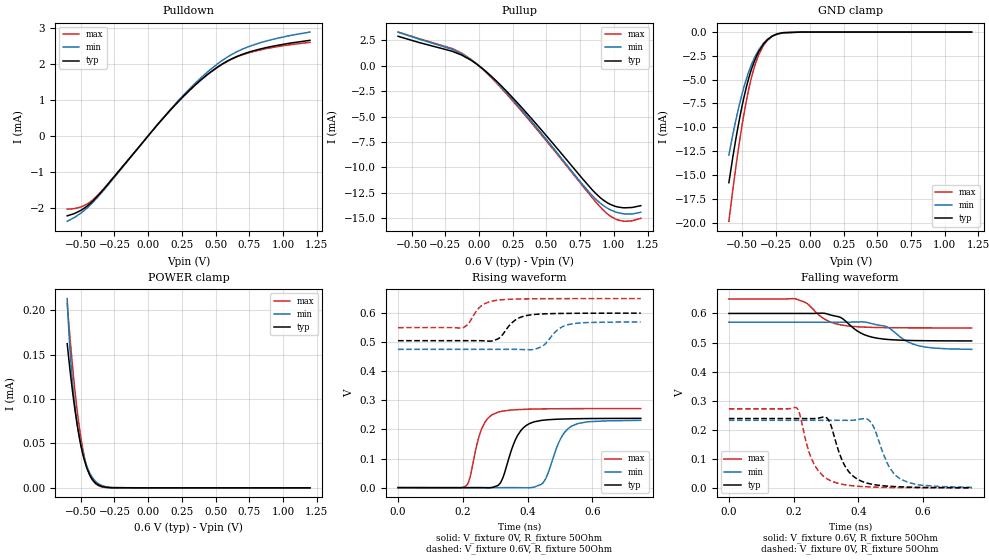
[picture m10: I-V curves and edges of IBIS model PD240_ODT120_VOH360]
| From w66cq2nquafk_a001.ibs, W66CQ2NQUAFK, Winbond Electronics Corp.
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[Model]   PD240_ODT120_VOH360
Model_type   I/O
Polarity   Non-Inverting
Enable   Active-Low
Vinl = 0.11
Vinh = 0.25
Vmeas = 0.18
Vref = 0
Cref = 0pF
Rref = 120
|   typ   min   max
C_comp   0.85pF   0.80pF   0.90pF
[Voltage Range]   0.6   0.57   0.65
[Temperature Range]   25   105   -40
[Pullup Reference]   0.6   0.57   0.65
[Pulldown Reference]   0   0   0
[Power Clamp Reference]   0.6   0.57   0.65
[GND Clamp Reference]   0   0   0
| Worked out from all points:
|   slope of the pulldown table from 0 to 0.09 V, typ, clamps not added: 224 ohm
|   slope of the pullup table from 0 to 0.09 V, typ, clamps not added: 89.3 ohm
|   GND clamp passes 1 mA (typ) near -0.33 V on its own axis
|   falling waveform, V_fixture 0.6V, R_fixture 50Ohm: 20-80 % time 72.4ps typ, 74.7ps min, 68.7ps max; typ from 0.6 V to 0.505 V
|   rising waveform, V_fixture 0V, R_fixture 50Ohm: 20-80 % time 47.9ps typ, 49.2ps min, 38.7ps max; typ from 0 V to 0.238 V
|   rising waveform, V_fixture 0.6V, R_fixture 50Ohm: 20-80 % time 47.8ps typ, 48.9ps min, 42.8ps max; typ from 0.505 V to 0.6 V
|   falling waveform, V_fixture 0V, R_fixture 50Ohm: 20-80 % time 54.8ps typ, 55.3ps min, 53.3ps max; typ from 0.238 V to 0 V
[Pulldown]
|   Voltage   I(typ)   I(min)   I(max)
-600mV    -2.227mA   -2.378mA   -2.041mA
-498.6mV  -2.075mA   -2.151mA   -1.98mA
-455.7mV  -1.966mA   -2.019mA   -1.905mA
-404.4mV  -1.794mA   -1.831mA   -1.761mA
-310.8mV  -1.405mA   -1.43mA    -1.39mA
168mV     731.8uA    748.5uA    730.1uA
349.7mV   1.421mA    1.469mA    1.416mA
510.9mV   1.909mA    1.996mA    1.901mA
624mV     2.155mA    2.277mA    2.145mA
762.3mV   2.352mA    2.511mA    2.332mA
937.9mV   2.508mA    2.702mA    2.473mA
1.2V      2.663mA    2.893mA    2.607mA
[GND Clamp]
|   Voltage   I(typ)   I(min)   I(max)
-600mV    -15.82mA   -12.92mA   -19.87mA
-545.4mV  -11mA      -9.061mA   -13.87mA
-510.6mV  -8.349mA   -6.958mA   -10.54mA
-473.9mV  -5.995mA   -5.087mA   -7.467mA
-433.6mV  -3.96mA    -3.452mA   -4.825mA
-410.2mV  -3.043mA   -2.697mA   -3.634mA
-376.2mV  -2.001mA   -1.805mA   -2.333mA
-343.9mV  -1.276mA   -1.192mA   -1.434mA
-279mV    -422.3uA   -440.4uA   -461uA
-196.3mV  -69.01uA   -93.11uA   -56.39uA
-59.4mV   -1.351uA   -4.118uA   -512.3nA
1.2V      0A         0A         0A
[Pullup]
|   Voltage   I(typ)   I(min)   I(max)
-600mV    2.903mA    3.311mA    3.32mA
-196.3mV  1.414mA    1.603mA    1.686mA
-59.4mV   548.3uA    593.5uA    638.5uA
68.85mV   -756.9uA   -801.7uA   -859.8uA
228.1mV   -2.828mA   -2.982mA   -3.118mA
443.4mV   -6.007mA   -6.325mA   -6.476mA
762.9mV   -11.03mA   -11.6mA    -11.71mA
873.6mV   -12.66mA   -13.21mA   -13.51mA
953.8mV   -13.49mA   -14.02mA   -14.58mA
1.03V     -13.89mA   -14.45mA   -15.17mA
1.128V    -13.95mA   -14.59mA   -15.26mA
1.2V      -13.76mA   -14.41mA   -15.01mA
[POWER Clamp]
|   Voltage   I(typ)   I(min)   I(max)
-600mV    162.4uA    213.1uA    207.7uA
-585.2mV  140.9uA    169.8uA    179.6uA
-571.5mV  122.4uA    138.7uA    155.2uA
-550.4mV  96.59uA    102.5uA    121.1uA
-524.2mV  69.24uA    70.7uA     84.38uA
-498.6mV  47.58uA    48.92uA    55.86uA
-474.6mV  32.01uA    33.61uA    35.76uA
-455.7mV  22.7uA     24.73uA    24.16uA
-410.2mV  8.88uA     11.02uA    8.114uA
-376.6mV  3.992uA    5.454uA    3.274uA
-265.9mV  129.8nA    416.4nA    17.34nA
1.2V      0A         0A         0A
[Ramp]
R_load = 50
|   typ   min   max
dV/dt_r 1.4295E-01/4.7625E-11   1.3882E-01/4.9176E-11   1.6308E-01/3.8438E-11
dV/dt_f 5.6752E-02/7.2203E-11   5.6133E-02/7.4576E-11   5.9869E-02/6.8571E-11
[Falling Waveform]
V_fixture = 0.6V
V_fixture_min = 0.57V
V_fixture_max = 0.65V
R_fixture = 50Ohm
C_fixture = 0F
|   Time   V(typ)   V(min)   V(max)
0s        600mV      570mV      650mV
205ps     600mV      570mV      650.6mV
240ps     600mV      570mV      635.6mV
295ps     600.5mV    570mV      581mV
345ps     586.2mV    570mV      560.8mV
417ps     527.6mV    570.7mV    553.1mV
490ps     510.6mV    553.2mV    551mV
546ps     507.4mV    506.5mV    550.6mV
580ps     506.5mV    490.7mV    550.4mV
750ps     505.4mV    476.4mV    550.2mV
[Rising Waveform]
V_fixture = 0V
V_fixture_min = 0V
V_fixture_max = 0V
R_fixture = 50Ohm
C_fixture = 0F
|   Time   V(typ)   V(min)   V(max)
0s        8.405uV    38.15uV    1.644uV
211ps     8.288uV    38.16uV    6.901mV
258ps     -50.45uV   38.2uV     201.4mV
309ps     7.864mV    38.34uV    259.4mV
369ps     178.6mV    -12.01uV   268.2mV
407ps     220.7mV    -299.4uV   269.9mV
449ps     231.9mV    17.9mV     270.8mV
502ps     235.7mV    167.7mV    271.4mV
537ps     236.7mV    211.9mV    271.6mV
750ps     238.3mV    231.4mV    271.8mV
[Rising Waveform]
V_fixture = 0.6V
V_fixture_min = 0.57V
V_fixture_max = 0.65V
R_fixture = 50Ohm
C_fixture = 0F
|   Time   V(typ)   V(min)   V(max)
0s        505.3mV    475.4mV    550.2mV
199ps     505.3mV    475.4mV    549.2mV
257ps     505.3mV    475.4mV    624.7mV
309ps     511.9mV    475.4mV    644.7mV
352ps     567.2mV    475.5mV    648mV
398ps     592mV      474.1mV    649.1mV
449ps     597.4mV    488.8mV    649.7mV
495ps     598.8mV    544.4mV    649.8mV
529ps     599.3mV    561.5mV    649.9mV
750ps     600mV      569.7mV    650mV
[Falling Waveform]
|Gnd
V_fixture = 0V
V_fixture_min = 0V
V_fixture_max = 0V
R_fixture = 50Ohm
C_fixture = 0F
|   Time   V(typ)   V(min)   V(max)
0s        238.4mV    232.3mV    271.8mV
208ps     238.4mV    232.3mV    275.9mV
253ps     238.2mV    232.3mV    106.5mV
299ps     243mV      232.3mV    34.16mV
359ps     74.44mV    232.1mV    10.55mV
424ps     17.19mV    237.5mV    3.718mV
449ps     11.01mV    205.2mV    2.489mV
495ps     5.416mV    72.88mV    1.262mV
529ps     3.485mV    30.98mV    749.5uV
750ps     243.4uV    1.659mV    -1.977uV
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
